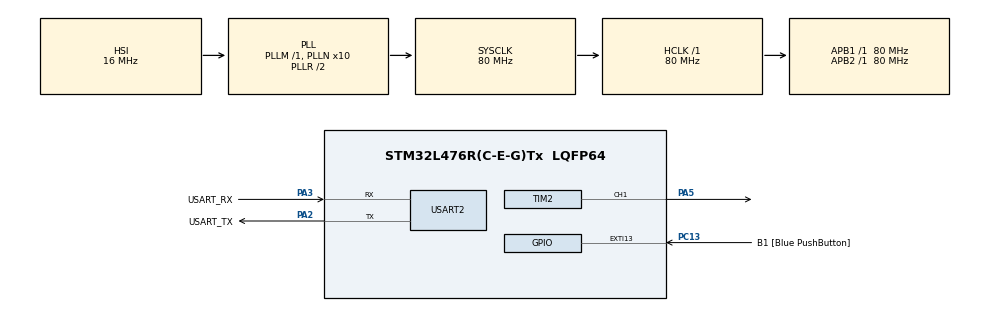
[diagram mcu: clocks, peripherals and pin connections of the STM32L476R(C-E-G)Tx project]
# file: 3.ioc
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Mcu.Family=STM32L4
Mcu.Name=STM32L476R(C-E-G)Tx
Mcu.Package=LQFP64
NVIC.EXTI15_10_IRQn=true\:0\:0\:false\:false\:true\:true\:true
NVIC.PriorityGroup=NVIC_PRIORITYGROUP_4
NVIC.TIM6_DAC_IRQn=true\:0\:0\:false\:false\:true\:true\:true
PA13\ (JTMS-SWDIO).GPIO_Label=TMS
PA13\ (JTMS-SWDIO).Mode=Serial_Wire
PA13\ (JTMS-SWDIO).Signal=SYS_JTMS-SWDIO
PA14\ (JTCK-SWCLK).GPIO_Label=TCK
PA14\ (JTCK-SWCLK).Mode=Serial_Wire
PA14\ (JTCK-SWCLK).Signal=SYS_JTCK-SWCLK
PA2.GPIO_Label=USART_TX
PA2.GPIO_Mode=GPIO_MODE_AF_PP
PA2.GPIO_PuPd=GPIO_NOPULL
PA2.GPIO_Speed=GPIO_SPEED_FREQ_VERY_HIGH
PA2.Mode=Asynchronous
PA2.Signal=USART2_TX
PA3.GPIO_Label=USART_RX
PA3.GPIO_Mode=GPIO_MODE_AF_PP
PA3.GPIO_PuPd=GPIO_NOPULL
PA3.GPIO_Speed=GPIO_SPEED_FREQ_VERY_HIGH
PA3.Mode=Asynchronous
PA3.Signal=USART2_RX
PA5.Signal=S_TIM2_CH1
PB3\ (JTDO-TRACESWO).GPIO_Label=SWO
PB3\ (JTDO-TRACESWO).Signal=SYS_JTDO-SWO
PC13.GPIO_Label=B1 [Blue PushButton]
PC13.GPIO_ModeDefaultEXTI=GPIO_MODE_IT_FALLING
PC13.GPIO_PuPd=GPIO_NOPULL
PC13.Signal=GPXTI13
PC14-OSC32_IN\ (PC14).Mode=LSE-External-Oscillator
PC14-OSC32_IN\ (PC14).Signal=RCC_OSC32_IN
PC15-OSC32_OUT\ (PC15).Mode=LSE-External-Oscillator
PC15-OSC32_OUT\ (PC15).Signal=RCC_OSC32_OUT
PH0-OSC_IN\ (PH0).Signal=RCC_OSC_IN
PH1-OSC_OUT\ (PH1).Signal=RCC_OSC_OUT
ProjectManager.HeapSize=0x200
ProjectManager.StackSize=0x400
ProjectManager.TargetToolchain=SW4STM32
RCC.ADCFreq_Value=64000000
RCC.AHBFreq_Value=80000000
RCC.APB1Freq_Value=80000000
RCC.APB1TimFreq_Value=80000000
RCC.APB2Freq_Value=80000000
RCC.APB2TimFreq_Value=80000000
RCC.CortexFreq_Value=80000000
RCC.HCLKFreq_Value=80000000
RCC.HSE_VALUE=8000000
RCC.HSI_VALUE=16000000
RCC.MSI_VALUE=4000000
RCC.PLLN=10
RCC.PLLSourceVirtual=RCC_PLLSOURCE_HSI
RCC.PREFETCH_ENABLE=1
RCC.SYSCLKFreq_VALUE=80000000
RCC.SYSCLKSource=RCC_SYSCLKSOURCE_PLLCLK
RCC.USBFreq_Value=64000000
RCC.VCOOutputFreq_Value=160000000
SH.S_TIM2_CH1.0=TIM2_CH1,PWM Generation1 CH1
TIM2.Channel-PWM\ Generation1\ CH1=TIM_CHANNEL_1
TIM2.Period=9
TIM2.Prescaler=59999
TIM2.Pulse-PWM\ Generation1\ CH1=9
TIM6.Period=9000
TIM6.Prescaler=1000
USART2.VirtualMode-Asynchronous=VM_ASYNC
VP_TIM6_VS_ClockSourceINT.Mode=Enable_Timer
board=NUCLEO-L476RG

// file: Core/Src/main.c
/* USER CODE BEGIN Header */
/**
  ******************************************************************************
  * @file           : main.c
  * @brief          : Main program body
  ******************************************************************************
  * @attention
  *
  * <h2><center>&copy; Copyright (c) 2021 STMicroelectronics.
  * All rights reserved.</center></h2>
  *
  * This software component is licensed by ST under BSD 3-Clause license,
  * the "License"; You may not use this file except in compliance with the
  * License. You may obtain a copy of the License at:
  *                        opensource.org/licenses/BSD-3-Clause
  *
  ******************************************************************************
  */
/* USER CODE END Header */
#include "main.h"

TIM_HandleTypeDef htim2;
TIM_HandleTypeDef htim6;

UART_HandleTypeDef huart2;

void SystemClock_Config(void);
static void MX_GPIO_Init(void);
static void MX_TIM2_Init(void);
static void MX_TIM6_Init(void);
static void MX_USART2_UART_Init(void);

/* USER CODE BEGIN 0 */
uint16_t dc = 0; // duty cycle
int8_t step = 0; // incremental step for the duty cycle
/* USER CODE END 0 */

int main(void)
{

  /* MCU Configuration--------------------------------------------------------*/

  /* Reset of all peripherals, Initializes the Flash interface and the Systick. */
  HAL_Init();

  /* Configure the system clock */
  SystemClock_Config();

  /* Initialize all configured peripherals */
  MX_GPIO_Init();
  MX_TIM2_Init();
  MX_TIM6_Init();
  MX_USART2_UART_Init();
  /* USER CODE BEGIN 2 */
  HAL_TIM_PWM_Start(&htim2, TIM_CHANNEL_1); // start timer 2
  //HAL_TIM_Base_Start_IT(&htim6); // start timer 6
  TIM6->ARR = 333; // changing the Auto Reload Register value.
  	  	  	       // Increase it to have a longer timer
  /* USER CODE END 2 */

  /* Infinite loop */
  while (1)
  {
	  // fade the LED by gradually sliding the duty cycle every 100 miliseconds
	  HAL_Delay(100);
	  fade_PWM();
  }
}

void SystemClock_Config(void)
{
  RCC_OscInitTypeDef RCC_OscInitStruct = {0};
  RCC_ClkInitTypeDef RCC_ClkInitStruct = {0};
  RCC_PeriphCLKInitTypeDef PeriphClkInit = {0};

  /** Initializes the RCC Oscillators according to the specified parameters
  * in the RCC_OscInitTypeDef structure.
  */
  RCC_OscInitStruct.OscillatorType = RCC_OSCILLATORTYPE_HSI;
  RCC_OscInitStruct.HSIState = RCC_HSI_ON;
  RCC_OscInitStruct.HSICalibrationValue = RCC_HSICALIBRATION_DEFAULT;
  RCC_OscInitStruct.PLL.PLLState = RCC_PLL_ON;
  RCC_OscInitStruct.PLL.PLLSource = RCC_PLLSOURCE_HSI;
  RCC_OscInitStruct.PLL.PLLM = 1;
  RCC_OscInitStruct.PLL.PLLN = 10;
  RCC_OscInitStruct.PLL.PLLP = RCC_PLLP_DIV7;
  RCC_OscInitStruct.PLL.PLLQ = RCC_PLLQ_DIV2;
  RCC_OscInitStruct.PLL.PLLR = RCC_PLLR_DIV2;
  if (HAL_RCC_OscConfig(&RCC_OscInitStruct) != HAL_OK)
  {
    Error_Handler();
  }
  /** Initializes the CPU, AHB and APB buses clocks
  */
  RCC_ClkInitStruct.ClockType = RCC_CLOCKTYPE_HCLK|RCC_CLOCKTYPE_SYSCLK
                              |RCC_CLOCKTYPE_PCLK1|RCC_CLOCKTYPE_PCLK2;
  RCC_ClkInitStruct.SYSCLKSource = RCC_SYSCLKSOURCE_PLLCLK;
  RCC_ClkInitStruct.AHBCLKDivider = RCC_SYSCLK_DIV1;
  RCC_ClkInitStruct.APB1CLKDivider = RCC_HCLK_DIV1;
  RCC_ClkInitStruct.APB2CLKDivider = RCC_HCLK_DIV1;

  if (HAL_RCC_ClockConfig(&RCC_ClkInitStruct, FLASH_LATENCY_4) != HAL_OK)
  {
    Error_Handler();
  }
  PeriphClkInit.PeriphClockSelection = RCC_PERIPHCLK_USART2;
  PeriphClkInit.Usart2ClockSelection = RCC_USART2CLKSOURCE_PCLK1;
  if (HAL_RCCEx_PeriphCLKConfig(&PeriphClkInit) != HAL_OK)
  {
    Error_Handler();
  }
  /** Configure the main internal regulator output voltage
  */
  if (HAL_PWREx_ControlVoltageScaling(PWR_REGULATOR_VOLTAGE_SCALE1) != HAL_OK)
  {
    Error_Handler();
  }
}

static void MX_TIM2_Init(void)
{

  TIM_MasterConfigTypeDef sMasterConfig = {0};
  TIM_OC_InitTypeDef sConfigOC = {0};

  htim2.Instance = TIM2;
  htim2.Init.Prescaler = 59999;
  htim2.Init.CounterMode = TIM_COUNTERMODE_UP;
  htim2.Init.Period = 9;
  htim2.Init.ClockDivision = TIM_CLOCKDIVISION_DIV1;
  htim2.Init.AutoReloadPreload = TIM_AUTORELOAD_PRELOAD_DISABLE;
  if (HAL_TIM_PWM_Init(&htim2) != HAL_OK)
  {
    Error_Handler();
  }
  sMasterConfig.MasterOutputTrigger = TIM_TRGO_RESET;
  sMasterConfig.MasterSlaveMode = TIM_MASTERSLAVEMODE_DISABLE;
  if (HAL_TIMEx_MasterConfigSynchronization(&htim2, &sMasterConfig) != HAL_OK)
  {
    Error_Handler();
  }
  sConfigOC.OCMode = TIM_OCMODE_PWM1;
  sConfigOC.Pulse = 9;
  sConfigOC.OCPolarity = TIM_OCPOLARITY_HIGH;
  sConfigOC.OCFastMode = TIM_OCFAST_DISABLE;
  if (HAL_TIM_PWM_ConfigChannel(&htim2, &sConfigOC, TIM_CHANNEL_1) != HAL_OK)
  {
    Error_Handler();
  }
  HAL_TIM_MspPostInit(&htim2);

}

static void MX_TIM6_Init(void)
{

  TIM_MasterConfigTypeDef sMasterConfig = {0};

  htim6.Instance = TIM6;
  htim6.Init.Prescaler = 1000;
  htim6.Init.CounterMode = TIM_COUNTERMODE_UP;
  htim6.Init.Period = 9000;
  htim6.Init.AutoReloadPreload = TIM_AUTORELOAD_PRELOAD_DISABLE;
  if (HAL_TIM_Base_Init(&htim6) != HAL_OK)
  {
    Error_Handler();
  }
  sMasterConfig.MasterOutputTrigger = TIM_TRGO_RESET;
  sMasterConfig.MasterSlaveMode = TIM_MASTERSLAVEMODE_DISABLE;
  if (HAL_TIMEx_MasterConfigSynchronization(&htim6, &sMasterConfig) != HAL_OK)
  {
    Error_Handler();
  }

}

static void MX_USART2_UART_Init(void)
{

  huart2.Instance = USART2;
  huart2.Init.BaudRate = 115200;
  huart2.Init.WordLength = UART_WORDLENGTH_8B;
  huart2.Init.StopBits = UART_STOPBITS_1;
  huart2.Init.Parity = UART_PARITY_NONE;
  huart2.Init.Mode = UART_MODE_TX_RX;
  huart2.Init.HwFlowCtl = UART_HWCONTROL_NONE;
  huart2.Init.OverSampling = UART_OVERSAMPLING_16;
  huart2.Init.OneBitSampling = UART_ONE_BIT_SAMPLE_DISABLE;
  huart2.AdvancedInit.AdvFeatureInit = UART_ADVFEATURE_NO_INIT;
  if (HAL_UART_Init(&huart2) != HAL_OK)
  {
    Error_Handler();
  }

}

static void MX_GPIO_Init(void)
{
  GPIO_InitTypeDef GPIO_InitStruct = {0};

  /* GPIO Ports Clock Enable */
  __HAL_RCC_GPIOC_CLK_ENABLE();
  __HAL_RCC_GPIOH_CLK_ENABLE();
  __HAL_RCC_GPIOA_CLK_ENABLE();
  __HAL_RCC_GPIOB_CLK_ENABLE();

  /*Configure GPIO pin : B1_Pin */
  GPIO_InitStruct.Pin = B1_Pin;
  GPIO_InitStruct.Mode = GPIO_MODE_IT_FALLING;
  GPIO_InitStruct.Pull = GPIO_NOPULL;
  HAL_GPIO_Init(B1_GPIO_Port, &GPIO_InitStruct);

  /* EXTI interrupt init*/
  HAL_NVIC_SetPriority(EXTI15_10_IRQn, 0, 0);
  HAL_NVIC_EnableIRQ(EXTI15_10_IRQn);

}

/* USER CODE BEGIN 4 */
void pwm_DC(uint16_t val) // change the duty cycle of the PWM
{
	// This function updates the pulse value of the timer.
	// The pulse value is strictly related to the duty cycle.
	// If our timer has an ARR of 10 and a CCR1 of 5, its duty cycle will be 50%.
	TIM2->CCR1 = val; // update the pulse value of timer 2
	HAL_TIM_PWM_Start(&htim2, TIM_CHANNEL_1); // start again the timer
}

void fade_PWM()
{
	// This function changes gradually the duty cycle of our timer, getting a "fade" effect.
	// It will increment the duty cycle from 0 to ARR and then back to 0
	if (dc==0)
	{
		step = 1;
	}
	else if(dc == TIM2->ARR)
	{
		step= -1;
	}
	dc += step;
	pwm_DC(dc);
}

void HAL_GPIO_EXTI_Callback(uint16_t GPIO_Pin) // when the user presses the blue pushbutton..
{
	fade_PWM(); // ..slide once the duty cycle of timer 10
}

void HAL_TIM_PeriodElapsedCallback(TIM_HandleTypeDef *htim) // each time timer 6 expires..
{
	fade_PWM(); // ..slide once the duty cycle of timer 10
}
/* USER CODE END 4 */

void Error_Handler(void)
{
  __disable_irq();
  while (1)
  {
  }
}

/************************ (C) COPYRIGHT STMicroelectronics *****END OF FILE****/
